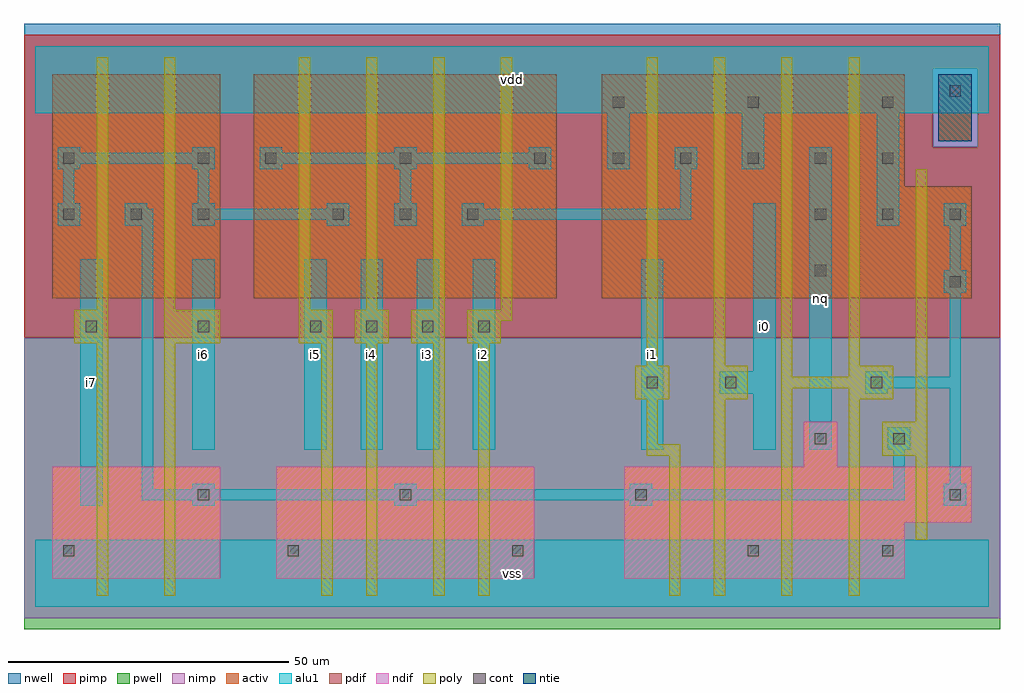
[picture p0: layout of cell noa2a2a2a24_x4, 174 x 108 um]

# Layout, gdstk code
import gdstk
lib = gdstk.Library(unit=1e-6, precision=1e-09)
def R(c, l, rs):  # rectangles x0, y0, x1, y1
    for r in rs: c.add(gdstk.rectangle(r[:2], r[2:], *l))
def A(c, l, x, y, w, h, nx, ny, dx, dy):  # array of equal rectangles
    R(c, l, [(x+i*dx, y+j*dy, x+i*dx+w, y+j*dy+h) for i in range(nx) for j in range(ny)])
ndif = (3, 0)
pdif = (4, 0)
ntie = (5, 0)
cont = (25, 0)
pwell = (41, 0)
nwell = (42, 0)
activ = (43, 0)
pimp = (44, 0)
nimp = (45, 0)
poly = (46, 0)
alu1 = (49, 0)

noa2a2a2a24_x4 = lib.new_cell('noa2a2a2a24_x4')
R(noa2a2a2a24_x4, ndif, [(3,5,33,25), (43,5,89,25), (105,5,155,15), (105,15,167,25), (137,25,143,33)])
R(noa2a2a2a24_x4, pdif, [(3,55,33,95), (39,55,93,95), (101,55,167,75), (101,75,155,95)])
R(noa2a2a2a24_x4, ntie, [(161,83,167,95)])
A(noa2a2a2a24_x4, cont, 5, 9, 2, 2, 3, 1, 40, 0)
A(noa2a2a2a24_x4, cont, 9, 49, 2, 2, 3, 1, 20, 0)
A(noa2a2a2a24_x4, cont, 59, 49, 2, 2, 3, 1, 10, 0)
A(noa2a2a2a24_x4, cont, 5, 69, 2, 2, 3, 1, 12, 0)
A(noa2a2a2a24_x4, cont, 53, 69, 2, 2, 3, 1, 12, 0)
A(noa2a2a2a24_x4, cont, 139, 69, 2, 2, 3, 1, 12, 0)
A(noa2a2a2a24_x4, cont, 41, 79, 2, 2, 3, 1, 24, 0)
A(noa2a2a2a24_x4, cont, 103, 79, 2, 2, 5, 1, 12, 0)
A(noa2a2a2a24_x4, cont, 103, 89, 2, 2, 3, 1, 24, 0)
R(noa2a2a2a24_x4, cont, [(127,9,129,11), (151,9,153,11), (29,19,31,21), (65,19,67,21), (107,19,109,21), (163,19,165,21), (139,29,141,31), (153,29,155,31), (109,39,111,41), (123,39,125,41), (149,39,151,41), (163,57,165,59), (139,59,141,61), (5,79,7,81), (29,79,31,81), (163,91,165,93)])
R(noa2a2a2a24_x4, pwell, [(-2,-4,172,48)])
R(noa2a2a2a24_x4, nwell, [(-2,48,172,104)])
R(noa2a2a2a24_x4, activ, [(3,5,33,25), (43,5,89,25), (105,5,155,15), (105,15,167,25), (137,25,143,33), (3,55,33,95), (39,55,93,95), (101,55,167,75), (101,75,155,95), (161,83,167,95)])
R(noa2a2a2a24_x4, pimp, [(-2,48,172,82), (-2,82,160,96), (168,82,172,96), (-2,96,172,102)])
R(noa2a2a2a24_x4, nimp, [(-2,-2,172,48), (160,82,168,96)])
A(noa2a2a2a24_x4, poly, 47, 47, 6, 6, 3, 1, 10, 0)
A(noa2a2a2a24_x4, poly, 47, 53, 2, 45, 4, 1, 12, 0)
R(noa2a2a2a24_x4, poly, [(11,2,13,47), (23,2,25,47), (51,2,53,47), (59,2,61,47), (71,2,73,47), (79,2,81,47), (113,2,115,27), (121,2,123,37), (133,2,135,39), (145,2,147,37), (157,12,159,27), (109,27,115,29), (151,27,159,33), (109,29,111,37), (157,33,159,78), (107,37,113,43), (121,37,127,43), (145,37,153,39), (133,39,153,41), (133,41,135,98), (145,41,153,43), (109,43,111,98), (121,43,123,98), (145,43,147,98), (7,47,13,53), (23,47,33,53), (77,47,83,51), (77,51,85,53), (11,53,13,98), (23,53,25,98)])
A(noa2a2a2a24_x4, alu1, 48, 28, 4, 34, 4, 1, 10, 0)
A(noa2a2a2a24_x4, alu1, 28, 68, 4, 1, 3, 2, 24, 3)
A(noa2a2a2a24_x4, alu1, 40, 78, 4, 1, 3, 2, 24, 3)
R(noa2a2a2a24_x4, alu1, [(0,0,170,12), (8,18,12,62), (28,18,32,19), (64,18,68,19), (106,18,110,19), (162,18,166,22), (19,19,155,21), (19,21,21,68), (28,21,32,22), (64,21,68,22), (106,21,110,22), (153,21,155,28), (163,22,165,39), (28,28,32,62), (108,28,112,62), (128,28,132,38), (138,28,142,82), (152,28,156,32), (122,38,132,42), (148,38,152,39), (148,39,165,41), (148,41,152,42), (163,41,165,56), (128,42,132,72), (162,56,166,60), (163,60,165,68), (4,68,8,72), (16,68,21,71), (64,68,68,72), (150,68,154,88), (162,68,166,72), (28,69,56,71), (76,69,117,71), (16,71,20,72), (115,71,117,78), (5,72,7,78), (29,72,31,78), (65,72,67,78), (4,78,8,79), (28,78,32,79), (102,78,106,88), (114,78,118,82), (126,78,130,88), (4,79,32,81), (40,79,92,81), (4,81,8,82), (28,81,32,82), (0,88,170,100)])
noa2a2a2a24_x4.add(gdstk.Label('i7', (10,40), layer=49, texttype=0))
noa2a2a2a24_x4.add(gdstk.Label('i5', (50,45), layer=49, texttype=0))
noa2a2a2a24_x4.add(gdstk.Label('i4', (60,45), layer=49, texttype=0))
noa2a2a2a24_x4.add(gdstk.Label('i6', (30,45), layer=49, texttype=0))
noa2a2a2a24_x4.add(gdstk.Label('vss', (85,6), layer=49, texttype=0))
noa2a2a2a24_x4.add(gdstk.Label('i2', (80,45), layer=49, texttype=0))
noa2a2a2a24_x4.add(gdstk.Label('i3', (70,45), layer=49, texttype=0))
noa2a2a2a24_x4.add(gdstk.Label('vdd', (85,94), layer=49, texttype=0))
noa2a2a2a24_x4.add(gdstk.Label('i1', (110,45), layer=49, texttype=0))
noa2a2a2a24_x4.add(gdstk.Label('i0', (130,50), layer=49, texttype=0))
noa2a2a2a24_x4.add(gdstk.Label('nq', (140,55), layer=49, texttype=0))

lib.write_gds('noa2a2a2a24_x4.gds')
